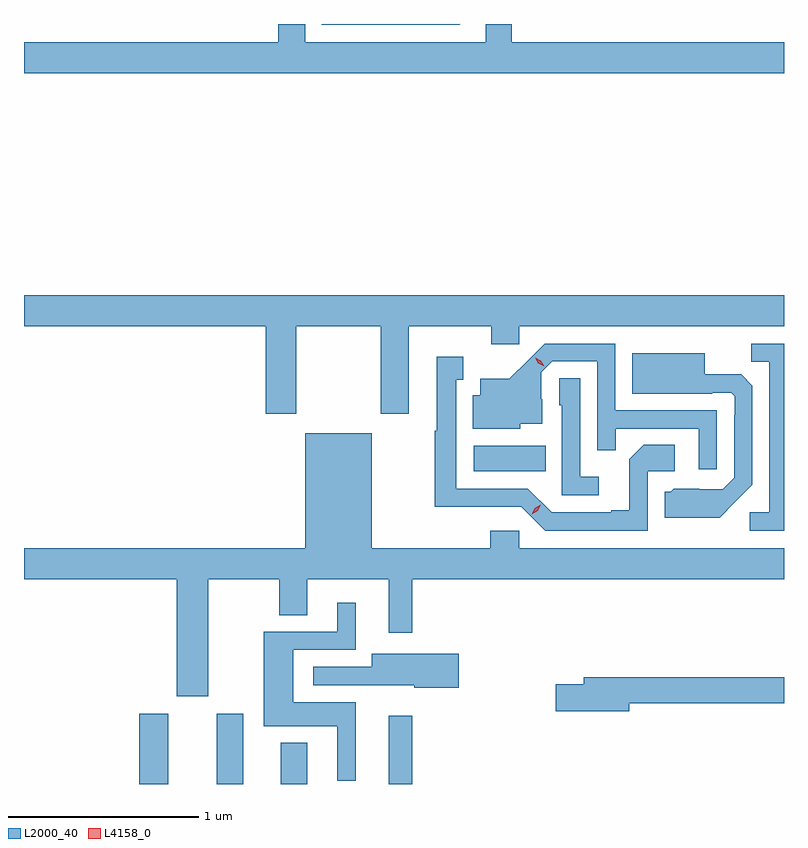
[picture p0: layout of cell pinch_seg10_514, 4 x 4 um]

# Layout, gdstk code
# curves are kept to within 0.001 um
import gdstk
lib = gdstk.Library(unit=1e-6, precision=1e-09)
def R(c, l, rs):  # rectangles x0, y0, x1, y1
    for r in rs: c.add(gdstk.rectangle(r[:2], r[2:], *l))
def P(c, l, *ps):  # polygons
    for p in ps: c.add(gdstk.Polygon(p, *l))
L2000_40 = (2000, 40)
L4158_0 = (4158, 0)

pinch_seg10_514 = lib.new_cell('pinch_seg10_514')
R(pinch_seg10_514, L2000_40, [(387.143,1265.939,387.295,1266.31), (387.551,1265.939,387.691,1266.31), (387.887,1265.939,388.027,1266.157), (388.457,1265.939,388.579,1266.298), (388.902,1267.586,389.282,1267.72)])
P(pinch_seg10_514, L2000_40, [(390.536,1269.844),(389.104,1269.844),(389.104,1269.939),(388.965,1269.939),(388.965,1269.844),(388.015,1269.844),(388.015,1269.939),(387.875,1269.939),(387.875,1269.844),(386.536,1269.844),(386.536,1269.68),(390.536,1269.68)],
  [(388.831,1269.939),(388.104,1269.939),(388.104,1269.936),(388.828,1269.936)],
  [(387.969,1268.348),(388.414,1268.348),(388.414,1267.887),(388.561,1267.887),(388.561,1268.348),(388.996,1268.348),(388.996,1268.253),(389.142,1268.253),(389.142,1268.348),(390.536,1268.348),(390.536,1268.512),(386.536,1268.512),(386.536,1268.348),(387.809,1268.348),(387.809,1267.887),(387.969,1267.887)],
  [(390.536,1268.256),(390.364,1268.256),(390.364,1268.161),(390.459,1268.161),(390.459,1267.368),(390.357,1267.368),(390.357,1267.272),(390.536,1267.272)],
  [(390.183,1267.905),(389.649,1267.905),(389.649,1268.256),(389.276,1268.256),(389.089,1268.071),(388.937,1268.071),(388.937,1267.984),(388.898,1267.984),(388.898,1267.808),(389.148,1267.808),(389.148,1267.835),(389.263,1267.835),(389.263,1267.964),(389.259,1267.964),(389.259,1268.106),(389.316,1268.163),(389.553,1268.163),(389.553,1267.696),(389.651,1267.696),(389.651,1267.809),(390.087,1267.809),(390.087,1267.596),(390.183,1267.596)],
  [(390.277,1267.421),(390.369,1267.514),(390.369,1268.036),(390.31,1268.095),(390.118,1268.095),(390.118,1268.206),(389.738,1268.206),(389.738,1267.994),(390.158,1267.994),(390.158,1267.998),(390.258,1267.998),(390.276,1267.98),(390.276,1267.88),(390.273,1267.88),(390.273,1267.551),(390.213,1267.491),(389.956,1267.492),(389.94,1267.476),(389.909,1267.476),(389.909,1267.34),(390.197,1267.34)],
  [(389.82,1267.584),(389.962,1267.584),(389.962,1267.724),(389.797,1267.724),(389.721,1267.648),(389.721,1267.381),(389.627,1267.381),(389.627,1267.368),(389.313,1267.368),(389.187,1267.494),(388.81,1267.494),(388.81,1268.067),(388.849,1268.067),(388.849,1268.188),(388.709,1268.188),(388.709,1267.799),(388.699,1267.799),(388.699,1267.397),(389.154,1267.398),(389.28,1267.272),(389.82,1267.272)],
  [(389.56,1267.555),(389.463,1267.555),(389.463,1268.075),(389.352,1268.075),(389.352,1267.932),(389.367,1267.932),(389.367,1267.458),(389.56,1267.458)],
  [(388.016,1267.18),(386.536,1267.18),(386.536,1267.016),(387.341,1267.016),(387.341,1266.402),(387.505,1266.402),(387.505,1267.016),(387.88,1267.016),(387.88,1266.826),(388.027,1266.826),(388.027,1267.016),(388.457,1267.016),(388.457,1266.735),(388.579,1266.735),(388.579,1267.016),(390.536,1267.016),(390.536,1267.18),(389.142,1267.18),(389.142,1267.273),(388.991,1267.273),(388.991,1267.18),(388.366,1267.18),(388.366,1267.786),(388.016,1267.786)],
  [(388.282,1266.37),(387.952,1266.37),(387.952,1266.645),(388.282,1266.645),(388.282,1266.892),(388.184,1266.892),(388.184,1266.741),(387.799,1266.741),(387.799,1266.242),(388.184,1266.242),(388.184,1265.955),(388.282,1265.955)],
  [(388.825,1266.624),(388.367,1266.624),(388.367,1266.555),(388.059,1266.555),(388.059,1266.459),(388.371,1266.459),(388.371,1266.458),(388.59,1266.458),(388.59,1266.446),(388.825,1266.446)],
  [(389.722,1266.364),(390.536,1266.364),(390.536,1266.5),(389.483,1266.5),(389.483,1266.464),(389.334,1266.464),(389.334,1266.322),(389.722,1266.322)])
P(pinch_seg10_514, L4158_0, [(389.274,1268.138),(389.243,1268.153),(389.226,1268.182),(389.226,1268.183),(389.227,1268.183),(389.257,1268.167),(389.274,1268.138),(389.274,1268.138)],
  [(389.208,1267.359),(389.208,1267.359),(389.225,1267.391),(389.257,1267.41),(389.257,1267.41),(389.257,1267.41),(389.24,1267.378),(389.208,1267.359)])

lib.write_gds('pinch_seg10_514.gds')
